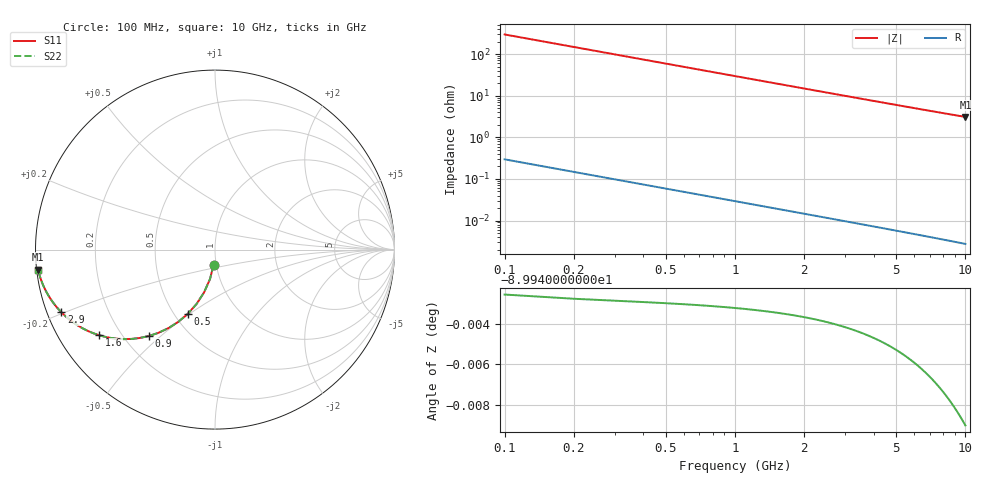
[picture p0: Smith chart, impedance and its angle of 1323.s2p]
# Hz S RI R 50.00
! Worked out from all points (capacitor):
!   100 points, 100 MHz to 10 GHz, reference 50 ohm
!   read as one part in shunt: C = 5.39 pF near 100 MHz
!   lowest |Z| = 3.09 ohm at 10 GHz (marker M1)
!   S11 on the Smith chart (normalised r, x): 100 MHz: 0.97, -0.16; 500 MHz: 0.58, -0.49; 900 MHz: 0.30, -0.46; 1.6 GHz: 0.12, -0.32; 2.9 GHz: 0.04, -0.20; 10 GHz: 0.00, -0.06
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1e8  -0.00719 -0.084  0.9928 -0.0841  0.9928 -0.0841  -0.00719 -0.084
2e8  -0.028 -0.1645  0.972 -0.1647  0.972 -0.1647  -0.028 -0.1645
3e8  -0.0608 -0.2383  0.9392 -0.2386  0.9392 -0.2386  -0.0608 -0.2383
4e8  -0.1031 -0.3034  0.8969 -0.3038  0.8969 -0.3038  -0.1031 -0.3034
5e8  -0.1521 -0.3584  0.8478 -0.3589  0.8478 -0.3589  -0.1521 -0.3584
6e8  -0.2052 -0.403  0.7948 -0.4037  0.7948 -0.4037  -0.2052 -0.403
7e8  -0.2599 -0.4377  0.7401 -0.4384  0.7401 -0.4384  -0.2599 -0.4377
9e8  -0.367 -0.481  0.633 -0.482  0.633 -0.482  -0.367 -0.481
1e9  -0.417 -0.4921  0.5829 -0.4931  0.5829 -0.4931  -0.417 -0.4921
1.2e9  -0.5072 -0.4988  0.4928 -0.5001  0.4928 -0.5001  -0.5072 -0.4988
1.4e9  -0.5832 -0.4918  0.4168 -0.4932  0.4168 -0.4932  -0.5832 -0.4918
1.6e9  -0.6461 -0.4769  0.3539 -0.4785  0.3539 -0.4785  -0.6461 -0.4769
1.8e9  -0.6977 -0.4578  0.3023 -0.4597  0.3023 -0.4597  -0.6977 -0.4578
2e9  -0.74 -0.4371  0.2599 -0.4391  0.2599 -0.4391  -0.74 -0.4371
2.3e9  -0.7899 -0.4057  0.2101 -0.4081  0.2101 -0.4081  -0.7899 -0.4057
2.9e9  -0.8563 -0.3487  0.1436 -0.3517  0.1436 -0.3517  -0.8563 -0.3487
3.4e9  -0.891 -0.3093  0.1089 -0.3128  0.1089 -0.3128  -0.891 -0.3093
4.2e9  -0.9256 -0.2596  0.0743 -0.264  0.0743 -0.264  -0.9256 -0.2596
5.1e9  -0.9482 -0.2183  0.0517 -0.2237  0.0517 -0.2237  -0.9482 -0.2183
6.7e9  -0.9693 -0.1683  0.0306 -0.1754  0.0306 -0.1754  -0.9693 -0.1683
8.4e9  -0.9803 -0.1339  0.0196 -0.1429  0.0196 -0.1429  -0.9803 -0.1339
1e10  -0.9861 -0.1112  0.0139 -0.122  0.0139 -0.122  -0.9861 -0.1112
